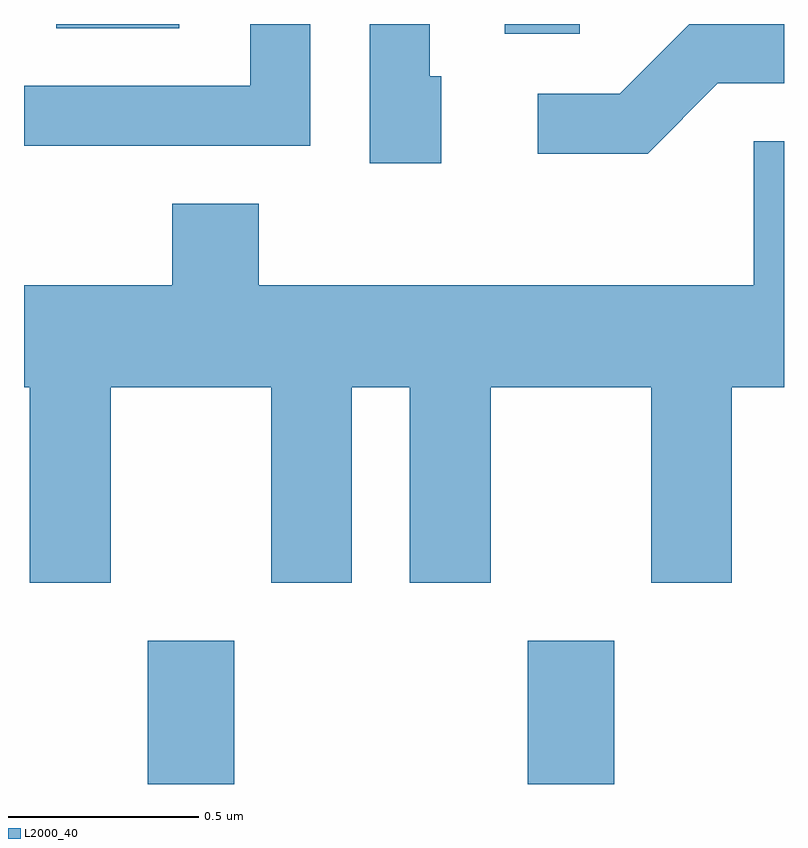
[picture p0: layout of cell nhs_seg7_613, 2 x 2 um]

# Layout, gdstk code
import gdstk
lib = gdstk.Library(unit=1e-6, precision=1e-09)
def R(c, l, rs):  # rectangles x0, y0, x1, y1
    for r in rs: c.add(gdstk.rectangle(r[:2], r[2:], *l))
def P(c, l, *ps):  # polygons
    for p in ps: c.add(gdstk.Polygon(p, *l))
L2000_40 = (2000, 40)

nhs_seg7_613 = lib.new_cell('nhs_seg7_613')
R(nhs_seg7_613, L2000_40, [(189.936,1733.252,190.164,1733.629), (190.936,1733.252,191.164,1733.629), (190.876,1735.226,191.074,1735.252), (189.696,1735.241,190.019,1735.252)])
P(nhs_seg7_613, L2000_40, [(191.437,1735.096),(191.611,1735.096),(191.611,1735.252),(191.362,1735.252),(191.179,1735.069),(190.963,1735.069),(190.963,1734.911),(191.252,1734.911)],
  [(190.364,1735.252),(190.206,1735.252),(190.206,1735.089),(189.611,1735.089),(189.611,1734.931),(190.364,1734.931)],
  [(190.709,1735.114),(190.679,1735.114),(190.679,1735.252),(190.521,1735.252),(190.521,1734.886),(190.709,1734.886)],
  [(189.839,1734.296),(190.261,1734.296),(190.261,1733.781),(190.474,1733.781),(190.474,1734.296),(190.626,1734.296),(190.626,1733.781),(190.839,1733.781),(190.839,1734.296),(191.261,1734.296),(191.261,1733.781),(191.474,1733.781),(191.474,1734.296),(191.611,1734.296),(191.611,1734.944),(191.531,1734.944),(191.531,1734.564),(190.229,1734.564),(190.229,1734.779),(190.001,1734.779),(190.001,1734.564),(189.611,1734.564),(189.611,1734.296),(189.626,1734.296),(189.626,1733.781),(189.839,1733.781)])

lib.write_gds('nhs_seg7_613.gds')
